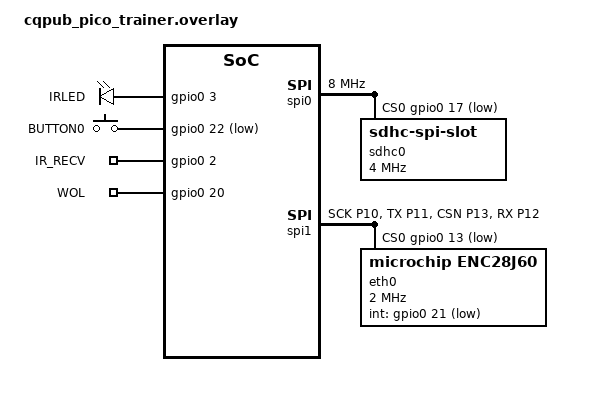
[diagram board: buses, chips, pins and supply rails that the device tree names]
/ {
	leds {
		irled0: irled_0 {
			gpios = <&gpio0 3 (GPIO_ACTIVE_HIGH|GPIO_PULL_DOWN)>;
			label = "IRLED";
		};
	};

	gpio_keys {
		compatible = "gpio-keys";
		button0: button_0 {
			label = "BUTTON0";
			gpios = <&gpio0 22 (GPIO_ACTIVE_LOW|GPIO_PULL_UP)>;
		};
		irrecv0: irrecv_0 {
			label = "IR_RECV";
			gpios = <&gpio0 2 GPIO_ACTIVE_HIGH>;
		};
		wol0: wol_0 {
			label = "WOL";
			gpios = <&gpio0 20 GPIO_ACTIVE_HIGH>;
		};
	};

	aliases {
		irled0 = &irled0;
		irrecv0 = &irrecv0;
		wol0 = &wol0;
		sw0 = &button0;
	};
};

&pinctrl {
	spi1_default: spi1_default {
		group1 {
			pinmux = <SPI1_SCK_P10>, <SPI1_TX_P11>, <SPI1_CSN_P13>;
		};
		group2 {
			pinmux = <SPI1_RX_P12>;
			input-enable;
		};
	};
};

&spi0 {
	clock-frequency = <DT_FREQ_M(8)>;
	cs-gpios = <&gpio0 17 GPIO_ACTIVE_LOW>;

	sdhc0: sdhc@0 {
		compatible = "zephyr,sdhc-spi-slot";
		reg = <0>;
		status = "okay";
		spi-max-frequency = <4000000>;
		mmc {
			compatible = "zephyr,sdmmc-disk";
			status = "okay";
			disk-name = "SDMMC_0";
		};
	};
};

&spi1 {
	status = "okay";
	pinctrl-0 = <&spi1_default>;
	pinctrl-names = "default";

	cs-gpios = <&gpio0 13 GPIO_ACTIVE_LOW>;

	eth0: enc28j60@0 {
		compatible = "microchip,enc28j60";
		reg = <0x0>;
		local-mac-address = [00 00 00 01 02 03];
		full-duplex;
		/* Errata B7/1 specifies min 8Mhz, 20MHz max according to RM */
		spi-max-frequency = <2000000>;
		int-gpios = <&gpio0 21 GPIO_ACTIVE_LOW>;
	};
};
